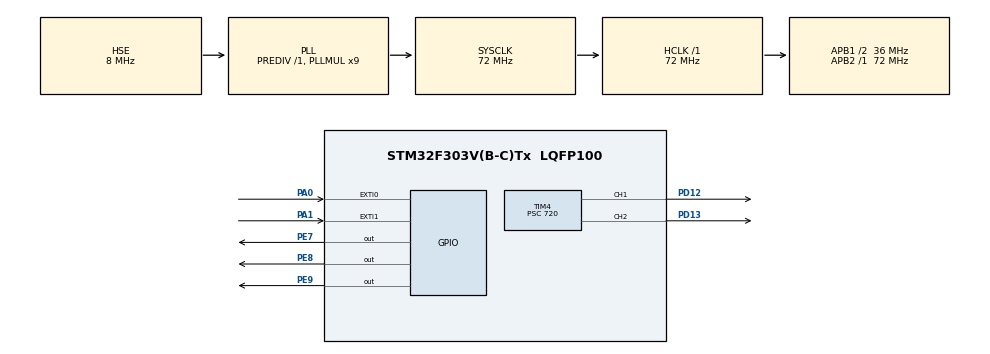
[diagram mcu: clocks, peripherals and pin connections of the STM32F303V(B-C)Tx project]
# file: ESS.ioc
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Mcu.Family=STM32F3
Mcu.Name=STM32F303V(B-C)Tx
Mcu.Package=LQFP100
NVIC.EXTI0_IRQn=true\:0\:0\:false\:false\:true\:true\:true
NVIC.EXTI1_IRQn=true\:0\:0\:false\:false\:true\:true\:true
NVIC.PriorityGroup=NVIC_PRIORITYGROUP_4
NVIC.TIM6_DAC_IRQn=true\:0\:0\:false\:false\:true\:true\:true
PA0.Signal=GPXTI0
PA1.GPIO_PuPd=GPIO_PULLDOWN
PA1.Signal=GPXTI1
PD12.GPIO_Speed=GPIO_SPEED_FREQ_HIGH
PD12.Signal=S_TIM4_CH1
PD13.Signal=S_TIM4_CH2
PE7.PinState=GPIO_PIN_SET
PE7.Signal=GPIO_Output
PE8.GPIO_Speed=GPIO_SPEED_FREQ_MEDIUM
PE8.Signal=GPIO_Output
PE9.Signal=GPIO_Output
PF0-OSC_IN.Mode=HSE-External-Oscillator
PF0-OSC_IN.Signal=RCC_OSC_IN
PF1-OSC_OUT.Mode=HSE-External-Oscillator
PF1-OSC_OUT.Signal=RCC_OSC_OUT
ProjectManager.HeapSize=0x200
ProjectManager.StackSize=0x400
ProjectManager.TargetToolchain=MDK-ARM V5.27
RCC.AHBFreq_Value=72000000
RCC.APB1CLKDivider=RCC_HCLK_DIV2
RCC.APB1Freq_Value=36000000
RCC.APB1TimFreq_Value=72000000
RCC.APB2Freq_Value=72000000
RCC.APB2TimFreq_Value=72000000
RCC.CortexFreq_Value=72000000
RCC.HCLKFreq_Value=72000000
RCC.HSE_VALUE=8000000
RCC.HSI_VALUE=8000000
RCC.LSE_VALUE=32768
RCC.PLLMUL=RCC_PLL_MUL9
RCC.PLLSourceVirtual=RCC_PLLSOURCE_HSE
RCC.SYSCLKFreq_VALUE=72000000
RCC.SYSCLKSourceVirtual=RCC_SYSCLKSOURCE_PLLCLK
RCC.USBFreq_Value=72000000
SH.S_TIM4_CH1.0=TIM4_CH1,PWM Generation1 CH1
SH.S_TIM4_CH2.0=TIM4_CH2,PWM Generation2 CH2
TIM4.Channel-PWM\ Generation1\ CH1=TIM_CHANNEL_1
TIM4.Channel-PWM\ Generation2\ CH2=TIM_CHANNEL_2
TIM4.OCFastMode_PWM-PWM\ Generation1\ CH1=TIM_OCFAST_ENABLE
TIM4.Period=2000
TIM4.Prescaler=720
TIM4.Pulse-PWM\ Generation1\ CH1=1000
TIM6.Period=10000
TIM6.Prescaler=35999
TIM6.TIM_MasterOutputTrigger=TIM_TRGO_UPDATE
VP_TIM4_VS_ClockSourceINT.Mode=Internal
VP_TIM6_VS_ClockSourceINT.Mode=Enable_Timer
board=custom

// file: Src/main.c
/* USER CODE BEGIN Header */
/**
  ******************************************************************************
  * @file           : main.c
  * @brief          : Main program body
  ******************************************************************************
  * @attention
  *
  * <h2><center>&copy; Copyright (c) 2019 STMicroelectronics.
  * All rights reserved.</center></h2>
  *
  * This software component is licensed by ST under BSD 3-Clause license,
  * the "License"; You may not use this file except in compliance with the
  * License. You may obtain a copy of the License at:
  *                        opensource.org/licenses/BSD-3-Clause
  *
  ******************************************************************************
  */
/* USER CODE END Header */

#include "main.h"

/* USER CODE BEGIN Includes */
#include "Servo.h"
#include "SimpleClock.h"
/* USER CODE END Includes */

TIM_HandleTypeDef htim4;
TIM_HandleTypeDef htim6;

/* USER CODE BEGIN PV */
uint8_t channel = 1;
uint16_t min_PWM_value = 58; //значение, при котором серво повернуто на 0 градусов
uint16_t max_PWM_value = 219; //значение, при котором серво повернуто на 180 градусов
Servo servo(TIM4, channel, min_PWM_value, max_PWM_value); //создаем объект для управления сервоприводом

SimpleClock simpleClock = SimpleClock(); //создаем объект для работы со временем
bool is_emergency_situation = false; //флаг для срабатывания САС (прерывание)
/* USER CODE END PV */

void SystemClock_Config(void);
static void MX_GPIO_Init(void);
static void MX_TIM4_Init(void);
static void MX_TIM6_Init(void);
/* USER CODE BEGIN PFP */
void Save_UAV(void);
/* USER CODE END PFP */

int main(void)
{

  /* MCU Configuration--------------------------------------------------------*/

  /* Reset of all peripherals, Initializes the Flash interface and the Systick. */
  HAL_Init();

  /* Configure the system clock */
  SystemClock_Config();

  /* Initialize all configured peripherals */
  MX_GPIO_Init();
  MX_TIM4_Init();
  MX_TIM6_Init();
  /* USER CODE BEGIN 2 */
	HAL_TIM_PWM_Start (&htim4, TIM_CHANNEL_1); //запускаем ШИМ
	HAL_TIM_PWM_Start (&htim4, TIM_CHANNEL_2); //запускаем ШИМ
	servo.Set_Position(0);

	HAL_TIM_Base_Start(&htim6);
	HAL_TIM_Base_Start_IT(&htim6); //запускаем прерывание по таймеру
  /* USER CODE END 2 */

  /* Infinite loop */
  while (1)
  {

    /* USER CODE BEGIN 3 */
		if(is_emergency_situation)
			Save_UAV();

		if(simpleClock.GetTime() > 1000000) //если heartbeat не приходил больше 1 сек
			is_emergency_situation = true;

		TIM4->CCR2 = 1000;
  }
  /* USER CODE END 3 */
}

void SystemClock_Config(void)
{
  RCC_OscInitTypeDef RCC_OscInitStruct = {0};
  RCC_ClkInitTypeDef RCC_ClkInitStruct = {0};

  /** Initializes the CPU, AHB and APB busses clocks
  */
  RCC_OscInitStruct.OscillatorType = RCC_OSCILLATORTYPE_HSE;
  RCC_OscInitStruct.HSEState = RCC_HSE_ON;
  RCC_OscInitStruct.HSEPredivValue = RCC_HSE_PREDIV_DIV1;
  RCC_OscInitStruct.HSIState = RCC_HSI_ON;
  RCC_OscInitStruct.PLL.PLLState = RCC_PLL_ON;
  RCC_OscInitStruct.PLL.PLLSource = RCC_PLLSOURCE_HSE;
  RCC_OscInitStruct.PLL.PLLMUL = RCC_PLL_MUL9;
  if (HAL_RCC_OscConfig(&RCC_OscInitStruct) != HAL_OK)
  {
    Error_Handler();
  }
  /** Initializes the CPU, AHB and APB busses clocks
  */
  RCC_ClkInitStruct.ClockType = RCC_CLOCKTYPE_HCLK|RCC_CLOCKTYPE_SYSCLK
                              |RCC_CLOCKTYPE_PCLK1|RCC_CLOCKTYPE_PCLK2;
  RCC_ClkInitStruct.SYSCLKSource = RCC_SYSCLKSOURCE_PLLCLK;
  RCC_ClkInitStruct.AHBCLKDivider = RCC_SYSCLK_DIV1;
  RCC_ClkInitStruct.APB1CLKDivider = RCC_HCLK_DIV2;
  RCC_ClkInitStruct.APB2CLKDivider = RCC_HCLK_DIV1;

  if (HAL_RCC_ClockConfig(&RCC_ClkInitStruct, FLASH_LATENCY_2) != HAL_OK)
  {
    Error_Handler();
  }
}

static void MX_TIM4_Init(void)
{

  TIM_ClockConfigTypeDef sClockSourceConfig = {0};
  TIM_MasterConfigTypeDef sMasterConfig = {0};
  TIM_OC_InitTypeDef sConfigOC = {0};

  htim4.Instance = TIM4;
  htim4.Init.Prescaler = 720;
  htim4.Init.CounterMode = TIM_COUNTERMODE_UP;
  htim4.Init.Period = 2000;
  htim4.Init.ClockDivision = TIM_CLOCKDIVISION_DIV1;
  htim4.Init.AutoReloadPreload = TIM_AUTORELOAD_PRELOAD_DISABLE;
  if (HAL_TIM_Base_Init(&htim4) != HAL_OK)
  {
    Error_Handler();
  }
  sClockSourceConfig.ClockSource = TIM_CLOCKSOURCE_INTERNAL;
  if (HAL_TIM_ConfigClockSource(&htim4, &sClockSourceConfig) != HAL_OK)
  {
    Error_Handler();
  }
  if (HAL_TIM_PWM_Init(&htim4) != HAL_OK)
  {
    Error_Handler();
  }
  sMasterConfig.MasterOutputTrigger = TIM_TRGO_RESET;
  sMasterConfig.MasterSlaveMode = TIM_MASTERSLAVEMODE_DISABLE;
  if (HAL_TIMEx_MasterConfigSynchronization(&htim4, &sMasterConfig) != HAL_OK)
  {
    Error_Handler();
  }
  sConfigOC.OCMode = TIM_OCMODE_PWM1;
  sConfigOC.Pulse = 1000;
  sConfigOC.OCPolarity = TIM_OCPOLARITY_HIGH;
  sConfigOC.OCFastMode = TIM_OCFAST_ENABLE;
  if (HAL_TIM_PWM_ConfigChannel(&htim4, &sConfigOC, TIM_CHANNEL_1) != HAL_OK)
  {
    Error_Handler();
  }
  sConfigOC.Pulse = 0;
  sConfigOC.OCFastMode = TIM_OCFAST_DISABLE;
  if (HAL_TIM_PWM_ConfigChannel(&htim4, &sConfigOC, TIM_CHANNEL_2) != HAL_OK)
  {
    Error_Handler();
  }
  HAL_TIM_MspPostInit(&htim4);

}

static void MX_TIM6_Init(void)
{

  TIM_MasterConfigTypeDef sMasterConfig = {0};

  htim6.Instance = TIM6;
  htim6.Init.Prescaler = 35999;
  htim6.Init.CounterMode = TIM_COUNTERMODE_UP;
  htim6.Init.Period = 10000;
  htim6.Init.AutoReloadPreload = TIM_AUTORELOAD_PRELOAD_DISABLE;
  if (HAL_TIM_Base_Init(&htim6) != HAL_OK)
  {
    Error_Handler();
  }
  sMasterConfig.MasterOutputTrigger = TIM_TRGO_UPDATE;
  sMasterConfig.MasterSlaveMode = TIM_MASTERSLAVEMODE_DISABLE;
  if (HAL_TIMEx_MasterConfigSynchronization(&htim6, &sMasterConfig) != HAL_OK)
  {
    Error_Handler();
  }

}

static void MX_GPIO_Init(void)
{
  GPIO_InitTypeDef GPIO_InitStruct = {0};

  /* GPIO Ports Clock Enable */
  __HAL_RCC_GPIOF_CLK_ENABLE();
  __HAL_RCC_GPIOA_CLK_ENABLE();
  __HAL_RCC_GPIOE_CLK_ENABLE();
  __HAL_RCC_GPIOD_CLK_ENABLE();

  /*Configure GPIO pin Output Level */
  HAL_GPIO_WritePin(GPIOE, GPIO_PIN_7, GPIO_PIN_SET);

  /*Configure GPIO pin Output Level */
  HAL_GPIO_WritePin(GPIOE, GPIO_PIN_8|GPIO_PIN_9, GPIO_PIN_RESET);

  /*Configure GPIO pin : PA0 */
  GPIO_InitStruct.Pin = GPIO_PIN_0;
  GPIO_InitStruct.Mode = GPIO_MODE_IT_RISING;
  GPIO_InitStruct.Pull = GPIO_NOPULL;
  HAL_GPIO_Init(GPIOA, &GPIO_InitStruct);

  /*Configure GPIO pin : PA1 */
  GPIO_InitStruct.Pin = GPIO_PIN_1;
  GPIO_InitStruct.Mode = GPIO_MODE_IT_RISING;
  GPIO_InitStruct.Pull = GPIO_PULLDOWN;
  HAL_GPIO_Init(GPIOA, &GPIO_InitStruct);

  /*Configure GPIO pins : PE7 PE9 */
  GPIO_InitStruct.Pin = GPIO_PIN_7|GPIO_PIN_9;
  GPIO_InitStruct.Mode = GPIO_MODE_OUTPUT_PP;
  GPIO_InitStruct.Pull = GPIO_NOPULL;
  GPIO_InitStruct.Speed = GPIO_SPEED_FREQ_LOW;
  HAL_GPIO_Init(GPIOE, &GPIO_InitStruct);

  /*Configure GPIO pin : PE8 */
  GPIO_InitStruct.Pin = GPIO_PIN_8;
  GPIO_InitStruct.Mode = GPIO_MODE_OUTPUT_PP;
  GPIO_InitStruct.Pull = GPIO_NOPULL;
  GPIO_InitStruct.Speed = GPIO_SPEED_FREQ_MEDIUM;
  HAL_GPIO_Init(GPIOE, &GPIO_InitStruct);

  /* EXTI interrupt init*/
  HAL_NVIC_SetPriority(EXTI0_IRQn, 0, 0);
  HAL_NVIC_EnableIRQ(EXTI0_IRQn);

  HAL_NVIC_SetPriority(EXTI1_IRQn, 0, 0);
  HAL_NVIC_EnableIRQ(EXTI1_IRQn);

}

/* USER CODE BEGIN 4 */
//Прерывание по нажатию кнопки
void HAL_GPIO_EXTI_Callback(uint16_t GPIO_Pin)
{
	//нажатие кнопки
	if(GPIO_Pin == GPIO_PIN_0)
		is_emergency_situation = true;

	//heartbeat от основного вычислителя
	if(GPIO_Pin == GPIO_PIN_1)
		simpleClock.Restart();
}

//Алгоритм спасения планера
void Save_UAV(void)
{
	//Включаем сигнальный светодиод
	HAL_GPIO_WritePin(GPIOE, GPIO_PIN_8, GPIO_PIN_SET);

	//Отключаем двигатель (подаем сигнал на реле)
	HAL_GPIO_WritePin(GPIOE, GPIO_PIN_7, GPIO_PIN_RESET);

	//Задержка, чтобы дождаться остановки двигателя
	HAL_Delay(1000); //1 секунда

	//Поворачиваем серво (открываем парашют)
	servo.Set_Position(180);
}

/* USER CODE END 4 */

void Error_Handler(void)
{
}

/************************ (C) COPYRIGHT STMicroelectronics *****END OF FILE****/
